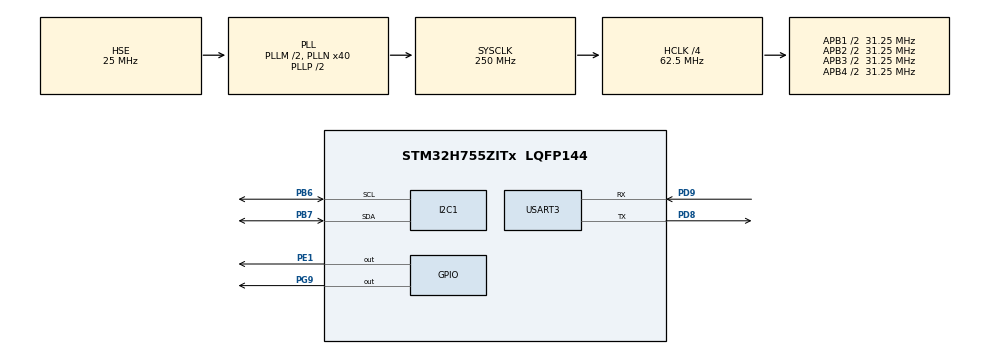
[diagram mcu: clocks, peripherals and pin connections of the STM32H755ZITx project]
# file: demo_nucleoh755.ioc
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CortexM4.IPs=BDMA,CORTEX_M4\:I,DEBUG,DMA,FATFS_M4\:I,FREERTOS_M4\:I,GPIO,IWDG2\:I,MDMA,NVIC2\:I,OPENAMP_M4\:I,PDM2PCM_M4\:I,PWR,RCC,RESMGR_UTILITY,SYS_M4\:I,USB_DEVICE_M4\:I,USB_HOST_M4\:I,VREFBUF,WWDG2\:I
CortexM7.IPs=BDMA\:I,CORTEX_M7\:I,DEBUG\:I,DMA\:I,FATFS_M7\:I,FREERTOS_M7\:I,GPIO\:I,IWDG1\:I,MDMA\:I,NVIC1\:I,OPENAMP_M7\:I,PDM2PCM_M7\:I,PWR\:I,RCC\:I,RESMGR_UTILITY\:I,SYS\:I,USB_DEVICE_M7\:I,USB_HOST_M7\:I,VREFBUF\:I,WWDG1\:I,I2C1\:I,USART3\:I,TIM7\:I
CortexM7.Pins=PG9,PE1
FREERTOS_M7.Tasks01=blinkLedTask,24,128,StartBlinkLedTask,Default,NULL,Dynamic,NULL,NULL;lightSensorTask,25,128,StartLightSensorReadTask,Default,NULL,Dynamic,NULL,NULL
FREERTOS_M7.configUSE_NEWLIB_REENTRANT=1
I2C1.Timing=0x00707CB3
Mcu.Family=STM32H7
Mcu.Name=STM32H755ZITx
Mcu.Package=LQFP144
NVIC1.PriorityGroup=NVIC_PRIORITYGROUP_4
NVIC1.TIM7_IRQn=true\:15\:0\:false\:false\:true\:false\:true\:true\:true
NVIC1.TimeBase=TIM7_IRQn
NVIC1.TimeBaseIP=TIM7
NVIC1.USART3_IRQn=true\:5\:0\:false\:false\:true\:true\:true\:true\:true
NVIC2.PriorityGroup=NVIC_PRIORITYGROUP_4
PA13\ (JTMS/SWDIO).Mode=Serial_Wire
PA13\ (JTMS/SWDIO).PinAttribute=CortexM7
PA13\ (JTMS/SWDIO).Signal=DEBUG_JTMS-SWDIO
PA14\ (JTCK/SWCLK).Mode=Serial_Wire
PA14\ (JTCK/SWCLK).PinAttribute=CortexM7
PA14\ (JTCK/SWCLK).Signal=DEBUG_JTCK-SWCLK
PB6.Mode=I2C
PB6.PinAttribute=CortexM7
PB6.Signal=I2C1_SCL
PB7.Mode=I2C
PB7.PinAttribute=CortexM7
PB7.Signal=I2C1_SDA
PC14-OSC32_IN\ (OSC32_IN).Mode=LSE-External-Oscillator
PC14-OSC32_IN\ (OSC32_IN).PinAttribute=Free
PC14-OSC32_IN\ (OSC32_IN).Signal=RCC_OSC32_IN
PC15-OSC32_OUT\ (OSC32_OUT).Mode=LSE-External-Oscillator
PC15-OSC32_OUT\ (OSC32_OUT).PinAttribute=Free
PC15-OSC32_OUT\ (OSC32_OUT).Signal=RCC_OSC32_OUT
PD8.Mode=Asynchronous
PD8.PinAttribute=CortexM7
PD8.Signal=USART3_TX
PD9.Mode=Asynchronous
PD9.PinAttribute=CortexM7
PD9.Signal=USART3_RX
PE1.GPIO_Speed=GPIO_SPEED_FREQ_HIGH
PE1.PinAttribute=CortexM7
PE1.PinState=GPIO_PIN_RESET
PE1.Signal=GPIO_Output
PG9.GPIO_Speed=GPIO_SPEED_FREQ_HIGH
PG9.PinAttribute=CortexM7
PG9.Signal=GPIO_Output
PH0-OSC_IN\ (PH0).Mode=HSE-External-Oscillator
PH0-OSC_IN\ (PH0).PinAttribute=Free
PH0-OSC_IN\ (PH0).Signal=RCC_OSC_IN
PH1-OSC_OUT\ (PH1).Mode=HSE-External-Oscillator
PH1-OSC_OUT\ (PH1).PinAttribute=Free
PH1-OSC_OUT\ (PH1).Signal=RCC_OSC_OUT
ProjectManager.HeapSize=M4-0x200,M7-0x200
ProjectManager.StackSize=M4-0x400,M7-0x400
ProjectManager.TargetToolchain=STM32CubeIDE
RCC.ADCFreq_Value=50390625
RCC.APB1Freq_Value=31250000
RCC.APB2Freq_Value=31250000
RCC.APB3Freq_Value=31250000
RCC.APB4Freq_Value=31250000
RCC.CortexFreq_Value=250000000
RCC.D1PPRE=RCC_APB3_DIV2
RCC.D2PPRE1=RCC_APB1_DIV2
RCC.D2PPRE2=RCC_APB2_DIV2
RCC.D3PPRE=RCC_APB4_DIV2
RCC.DIVM1=2
RCC.DIVN1=40
RCC.DIVR1=4
RCC.HCLKFreq_Value=62500000
RCC.HPRE=RCC_HCLK_DIV4
RCC.HSE_VALUE=25000000
RCC.PLL2FRACN=0
RCC.PLL3FRACN=0
RCC.PLLFRACN=0
RCC.PLLSourceVirtual=RCC_PLLSOURCE_HSE
RCC.PWR_Regulator_Voltage_Scale=PWR_REGULATOR_VOLTAGE_SCALE1
RCC.RCC_TIM_PRescaler_Selection=RCC_TIMPRES_DESACTIVATED
RCC.SYSCLKFreq_VALUE=250000000
RCC.SYSCLKSource=RCC_SYSCLKSOURCE_PLLCLK
RCC.SupplySource=PWR_DIRECT_SMPS_SUPPLY
RCC.USART234578CLockSelection=RCC_USART234578CLKSOURCE_HSI
RCC.USBFreq_Value=250000000
SYS.userName=SYS_M7
USART3.VirtualMode-Asynchronous=VM_ASYNC
VP_FREERTOS_M7_VS_CMSIS_V2.Mode=CMSIS_V2
VP_SYS_M4_VS_Systick.Mode=SysTick
VP_SYS_VS_tim7.Mode=TIM7
board=custom

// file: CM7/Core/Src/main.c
/* USER CODE BEGIN Header */
/**
  ******************************************************************************
  * @file           : main.c
  * @brief          : Main program body
  ******************************************************************************
  * @attention
  *
  * Copyright (c) 2026 STMicroelectronics.
  * All rights reserved.
  *
  * This software is licensed under terms that can be found in the LICENSE file
  * in the root directory of this software component.
  * If no LICENSE file comes with this software, it is provided AS-IS.
  *
  ******************************************************************************
  */
/* USER CODE END Header */
#include "main.h"
#include "cmsis_os.h"

/* USER CODE BEGIN Includes */
#include <stdio.h>
/* USER CODE END Includes */

/* USER CODE BEGIN PD */

#ifndef HSEM_ID_0
#define HSEM_ID_0 (0U) /* HW semaphore 0*/
#endif

/* USER CODE END PD */

/* USER CODE BEGIN PM */
#define DEBUG_BH1750 	0
#define DEBUG_QMC5883L 	1
/* USER CODE END PM */

I2C_HandleTypeDef hi2c1;

UART_HandleTypeDef huart3;

/* Definitions for blinkLedTask */
osThreadId_t blinkLedTaskHandle;
const osThreadAttr_t blinkLedTask_attributes = {
  .name = "blinkLedTask",
  .stack_size = 128 * 4,
  .priority = (osPriority_t) osPriorityNormal,
};
/* Definitions for lightSensorTask */
osThreadId_t lightSensorTaskHandle;
const osThreadAttr_t lightSensorTask_attributes = {
  .name = "lightSensorTask",
  .stack_size = 128 * 4,
  .priority = (osPriority_t) osPriorityNormal1,
};
/* USER CODE BEGIN PV */
char welcome_rtos[34] = "Hello World - RTOS!";
char names[50] = {0x00};
uint8_t bh1750_address = 0x23 << 1;
uint8_t qmc5883l_address = 0x0D << 1;
uint8_t tx_uart_buffer[6] = {0x00};
uint8_t rx_uart_buffer[6] = {0x00};
uint16_t raw_data = 0;
/* USER CODE END PV */

void SystemClock_Config(void);
static void MX_GPIO_Init(void);
static void MX_I2C1_Init(void);
static void MX_USART3_UART_Init(void);
void StartBlinkLedTask(void *argument);
void StartLightSensorReadTask(void *argument);

int main(void)
{
/* USER CODE BEGIN Boot_Mode_Sequence_0 */
  int32_t timeout;
/* USER CODE END Boot_Mode_Sequence_0 */

/* USER CODE BEGIN Boot_Mode_Sequence_1 */
  /* Wait until CPU2 boots and enters in stop mode or timeout*/
  timeout = 0xFFFF;
  while((__HAL_RCC_GET_FLAG(RCC_FLAG_D2CKRDY) != RESET) && (timeout-- > 0));
  if ( timeout < 0 )
  {
  Error_Handler();
  }
/* USER CODE END Boot_Mode_Sequence_1 */
  /* MCU Configuration--------------------------------------------------------*/

  /* Reset of all peripherals, Initializes the Flash interface and the Systick. */
  HAL_Init();

  /* Configure the system clock */
  SystemClock_Config();
/* USER CODE BEGIN Boot_Mode_Sequence_2 */
/* When system initialization is finished, Cortex-M7 will release Cortex-M4 by means of
HSEM notification */
/*HW semaphore Clock enable*/
__HAL_RCC_HSEM_CLK_ENABLE();
/*Take HSEM */
HAL_HSEM_FastTake(HSEM_ID_0);
/*Release HSEM in order to notify the CPU2(CM4)*/
HAL_HSEM_Release(HSEM_ID_0,0);
/* wait until CPU2 wakes up from stop mode */
timeout = 0xFFFF;
while((__HAL_RCC_GET_FLAG(RCC_FLAG_D2CKRDY) == RESET) && (timeout-- > 0));
if ( timeout < 0 )
{
Error_Handler();
}
/* USER CODE END Boot_Mode_Sequence_2 */

  /* Initialize all configured peripherals */
  MX_GPIO_Init();
  MX_I2C1_Init();
  MX_USART3_UART_Init();
  /* USER CODE BEGIN 2 */

  // Welcome message
  HAL_UART_Transmit(&huart3, welcome_rtos, sizeof(welcome_rtos), HAL_MAX_DELAY);

  // Setup I2C Sensor
#if DEBUG_BH1750
  tx_uart_buffer[0] = 0x11;			// Cont. High Mode 2
  HAL_I2C_Master_Transmit(&hi2c1, bh1750_address, tx_uart_buffer, 1, HAL_MAX_DELAY);
  HAL_Delay(180);
#endif

#if DEBUG_QMC5883L
  	  tx_uart_buffer[0] = 0x0D; 	// Address to read chip ID
  	  rx_uart_buffer[0] = 0x11;		// Put some random value into rx buffer to see if it will be overriden
  	  HAL_I2C_Master_Transmit(&hi2c1, qmc5883l_address, tx_uart_buffer, 1, HAL_MAX_DELAY);
  	  HAL_I2C_Master_Receive(&hi2c1, qmc5883l_address, rx_uart_buffer, 1, HAL_MAX_DELAY);
  	  raw_data = rx_uart_buffer[0];
  	  if(raw_data != 0xFF){
  		  while(1){
  			  // Error Loop here
  			  sprintf(names, "Error occurred, please check hardware");
  			  HAL_UART_Transmit(&huart3, names, sizeof(names), HAL_MAX_DELAY);
  			  HAL_Delay(1000);
  		  }
  	  }
  	  tx_uart_buffer[0] = 0x0B; 	// Write to Register 0B
  	  tx_uart_buffer[1] = 0x01; 	// Write data is 0x01
  	  HAL_I2C_Master_Transmit(&hi2c1, qmc5883l_address, tx_uart_buffer, 2, HAL_MAX_DELAY);

  	  tx_uart_buffer[0] = 0x09; 	// Write to Register 0x09
	  tx_uart_buffer[1] = 0x1D; 	// Write data is 0x1D (OSR=512, Full Scale Range=8 Gauss, ODR=200Hz)
	  HAL_I2C_Master_Transmit(&hi2c1, qmc5883l_address, tx_uart_buffer, 2, HAL_MAX_DELAY);
#endif

  /* USER CODE END 2 */

  /* Init scheduler */
  osKernelInitialize();

  /* Create the thread(s) */
  /* creation of blinkLedTask */
  blinkLedTaskHandle = osThreadNew(StartBlinkLedTask, NULL, &blinkLedTask_attributes);

  /* creation of lightSensorTask */
  lightSensorTaskHandle = osThreadNew(StartLightSensorReadTask, NULL, &lightSensorTask_attributes);

  /* Start scheduler */
  osKernelStart();

  /* We should never get here as control is now taken by the scheduler */
  /* Infinite loop */
  while (1)
  {

    /* USER CODE BEGIN 3 */
//	  HAL_I2C_Master_Receive(&hi2c1, bh1750_address, rx_uart_buffer, 2, HAL_MAX_DELAY);
//	  raw_data = rx_uart_buffer[0] << 8 | rx_uart_buffer[1];
//	  sprintf(names, "Raw data from Sensor is: %d", raw_data);
//	  HAL_GPIO_TogglePin(GPIOE, GPIO_PIN_1);
//	  HAL_Delay(100);
//	  HAL_UART_Transmit(&huart3, names, sizeof(names), HAL_MAX_DELAY);
  }
  /* USER CODE END 3 */
}

void SystemClock_Config(void)
{
  RCC_OscInitTypeDef RCC_OscInitStruct = {0};
  RCC_ClkInitTypeDef RCC_ClkInitStruct = {0};

  /** Supply configuration update enable
  */
  HAL_PWREx_ConfigSupply(PWR_DIRECT_SMPS_SUPPLY);

  /** Configure the main internal regulator output voltage
  */
  __HAL_PWR_VOLTAGESCALING_CONFIG(PWR_REGULATOR_VOLTAGE_SCALE1);

  while(!__HAL_PWR_GET_FLAG(PWR_FLAG_VOSRDY)) {}

  /** Initializes the RCC Oscillators according to the specified parameters
  * in the RCC_OscInitTypeDef structure.
  */
  RCC_OscInitStruct.OscillatorType = RCC_OSCILLATORTYPE_HSI|RCC_OSCILLATORTYPE_HSE;
  RCC_OscInitStruct.HSEState = RCC_HSE_ON;
  RCC_OscInitStruct.HSIState = RCC_HSI_DIV1;
  RCC_OscInitStruct.HSICalibrationValue = RCC_HSICALIBRATION_DEFAULT;
  RCC_OscInitStruct.PLL.PLLState = RCC_PLL_ON;
  RCC_OscInitStruct.PLL.PLLSource = RCC_PLLSOURCE_HSE;
  RCC_OscInitStruct.PLL.PLLM = 2;
  RCC_OscInitStruct.PLL.PLLN = 40;
  RCC_OscInitStruct.PLL.PLLP = 2;
  RCC_OscInitStruct.PLL.PLLQ = 2;
  RCC_OscInitStruct.PLL.PLLR = 4;
  RCC_OscInitStruct.PLL.PLLRGE = RCC_PLL1VCIRANGE_3;
  RCC_OscInitStruct.PLL.PLLVCOSEL = RCC_PLL1VCOWIDE;
  RCC_OscInitStruct.PLL.PLLFRACN = 0;
  if (HAL_RCC_OscConfig(&RCC_OscInitStruct) != HAL_OK)
  {
    Error_Handler();
  }

  /** Initializes the CPU, AHB and APB buses clocks
  */
  RCC_ClkInitStruct.ClockType = RCC_CLOCKTYPE_HCLK|RCC_CLOCKTYPE_SYSCLK
                              |RCC_CLOCKTYPE_PCLK1|RCC_CLOCKTYPE_PCLK2
                              |RCC_CLOCKTYPE_D3PCLK1|RCC_CLOCKTYPE_D1PCLK1;
  RCC_ClkInitStruct.SYSCLKSource = RCC_SYSCLKSOURCE_PLLCLK;
  RCC_ClkInitStruct.SYSCLKDivider = RCC_SYSCLK_DIV1;
  RCC_ClkInitStruct.AHBCLKDivider = RCC_HCLK_DIV4;
  RCC_ClkInitStruct.APB3CLKDivider = RCC_APB3_DIV2;
  RCC_ClkInitStruct.APB1CLKDivider = RCC_APB1_DIV2;
  RCC_ClkInitStruct.APB2CLKDivider = RCC_APB2_DIV2;
  RCC_ClkInitStruct.APB4CLKDivider = RCC_APB4_DIV2;

  if (HAL_RCC_ClockConfig(&RCC_ClkInitStruct, FLASH_LATENCY_0) != HAL_OK)
  {
    Error_Handler();
  }
}

static void MX_I2C1_Init(void)
{

  hi2c1.Instance = I2C1;
  hi2c1.Init.Timing = 0x00707CB3;
  hi2c1.Init.OwnAddress1 = 0;
  hi2c1.Init.AddressingMode = I2C_ADDRESSINGMODE_7BIT;
  hi2c1.Init.DualAddressMode = I2C_DUALADDRESS_DISABLE;
  hi2c1.Init.OwnAddress2 = 0;
  hi2c1.Init.OwnAddress2Masks = I2C_OA2_NOMASK;
  hi2c1.Init.GeneralCallMode = I2C_GENERALCALL_DISABLE;
  hi2c1.Init.NoStretchMode = I2C_NOSTRETCH_DISABLE;
  if (HAL_I2C_Init(&hi2c1) != HAL_OK)
  {
    Error_Handler();
  }

  /** Configure Analogue filter
  */
  if (HAL_I2CEx_ConfigAnalogFilter(&hi2c1, I2C_ANALOGFILTER_ENABLE) != HAL_OK)
  {
    Error_Handler();
  }

  /** Configure Digital filter
  */
  if (HAL_I2CEx_ConfigDigitalFilter(&hi2c1, 0) != HAL_OK)
  {
    Error_Handler();
  }

}

static void MX_USART3_UART_Init(void)
{

  huart3.Instance = USART3;
  huart3.Init.BaudRate = 115200;
  huart3.Init.WordLength = UART_WORDLENGTH_8B;
  huart3.Init.StopBits = UART_STOPBITS_1;
  huart3.Init.Parity = UART_PARITY_NONE;
  huart3.Init.Mode = UART_MODE_TX_RX;
  huart3.Init.HwFlowCtl = UART_HWCONTROL_NONE;
  huart3.Init.OverSampling = UART_OVERSAMPLING_16;
  huart3.Init.OneBitSampling = UART_ONE_BIT_SAMPLE_DISABLE;
  huart3.Init.ClockPrescaler = UART_PRESCALER_DIV1;
  huart3.AdvancedInit.AdvFeatureInit = UART_ADVFEATURE_NO_INIT;
  if (HAL_UART_Init(&huart3) != HAL_OK)
  {
    Error_Handler();
  }
  if (HAL_UARTEx_SetTxFifoThreshold(&huart3, UART_TXFIFO_THRESHOLD_1_8) != HAL_OK)
  {
    Error_Handler();
  }
  if (HAL_UARTEx_SetRxFifoThreshold(&huart3, UART_RXFIFO_THRESHOLD_1_8) != HAL_OK)
  {
    Error_Handler();
  }
  if (HAL_UARTEx_DisableFifoMode(&huart3) != HAL_OK)
  {
    Error_Handler();
  }

}

static void MX_GPIO_Init(void)
{
  GPIO_InitTypeDef GPIO_InitStruct = {0};

  /* GPIO Ports Clock Enable */
  __HAL_RCC_GPIOD_CLK_ENABLE();
  __HAL_RCC_GPIOA_CLK_ENABLE();
  __HAL_RCC_GPIOG_CLK_ENABLE();
  __HAL_RCC_GPIOB_CLK_ENABLE();
  __HAL_RCC_GPIOE_CLK_ENABLE();

  /*Configure GPIO pin Output Level */
  HAL_GPIO_WritePin(GPIOG, GPIO_PIN_9, GPIO_PIN_RESET);

  /*Configure GPIO pin Output Level */
  HAL_GPIO_WritePin(GPIOE, GPIO_PIN_1, GPIO_PIN_RESET);

  /*Configure GPIO pin : PG9 */
  GPIO_InitStruct.Pin = GPIO_PIN_9;
  GPIO_InitStruct.Mode = GPIO_MODE_OUTPUT_PP;
  GPIO_InitStruct.Pull = GPIO_NOPULL;
  GPIO_InitStruct.Speed = GPIO_SPEED_FREQ_HIGH;
  HAL_GPIO_Init(GPIOG, &GPIO_InitStruct);

  /*Configure GPIO pin : PE1 */
  GPIO_InitStruct.Pin = GPIO_PIN_1;
  GPIO_InitStruct.Mode = GPIO_MODE_OUTPUT_PP;
  GPIO_InitStruct.Pull = GPIO_NOPULL;
  GPIO_InitStruct.Speed = GPIO_SPEED_FREQ_HIGH;
  HAL_GPIO_Init(GPIOE, &GPIO_InitStruct);

}

void StartBlinkLedTask(void *argument)
{
  /* USER CODE BEGIN 5 */
  /* Infinite loop */
  for(;;)
  {
	  HAL_GPIO_TogglePin(GPIOE, GPIO_PIN_1);
	  HAL_GPIO_TogglePin(GPIOG, GPIO_PIN_9);
	  osDelay(66);
  }
  /* USER CODE END 5 */
}

void StartLightSensorReadTask(void *argument)
{
  /* USER CODE BEGIN StartLightSensorReadTask */
  /* Infinite loop */
  for(;;)
  {
#if DEBUG_BH1750
	  HAL_I2C_Master_Receive(&hi2c1, bh1750_address, rx_uart_buffer, 2, HAL_MAX_DELAY);
	  raw_data = rx_uart_buffer[0] << 8 | rx_uart_buffer[1];
	  sprintf(names, "Raw data from Sensor is: %d", raw_data);
#endif

#if DEBUG_QMC5883L
	  tx_uart_buffer[0] = 0x00; 		// Data Output X LSB Register
	  HAL_I2C_Master_Transmit(&hi2c1, qmc5883l_address, tx_uart_buffer, 1, HAL_MAX_DELAY);
	  HAL_I2C_Master_Receive(&hi2c1, qmc5883l_address, rx_uart_buffer, 6, HAL_MAX_DELAY);
	  int16_t signed_raw_data_x = rx_uart_buffer[1] << 8 | rx_uart_buffer[0];
	  int16_t signed_raw_data_y = rx_uart_buffer[3] << 8 | rx_uart_buffer[2];
	  int16_t signed_raw_data_z = rx_uart_buffer[5] << 8 | rx_uart_buffer[4];
	  sprintf(names, "X-axis: %d, Y-axis: %d, Z-asix: %d", signed_raw_data_x, signed_raw_data_y, signed_raw_data_z);
	  HAL_UART_Transmit_IT(&huart3, names, strlen(names));// HAL_MAX_DELAY);
#endif
	  osDelay(66); //200ms
  }
  /* USER CODE END StartLightSensorReadTask */
}

void HAL_TIM_PeriodElapsedCallback(TIM_HandleTypeDef *htim)
{
  if (htim->Instance == TIM7) {
    HAL_IncTick();
  }
}

void Error_Handler(void)
{
  __disable_irq();
  while (1)
  {
  }
}
